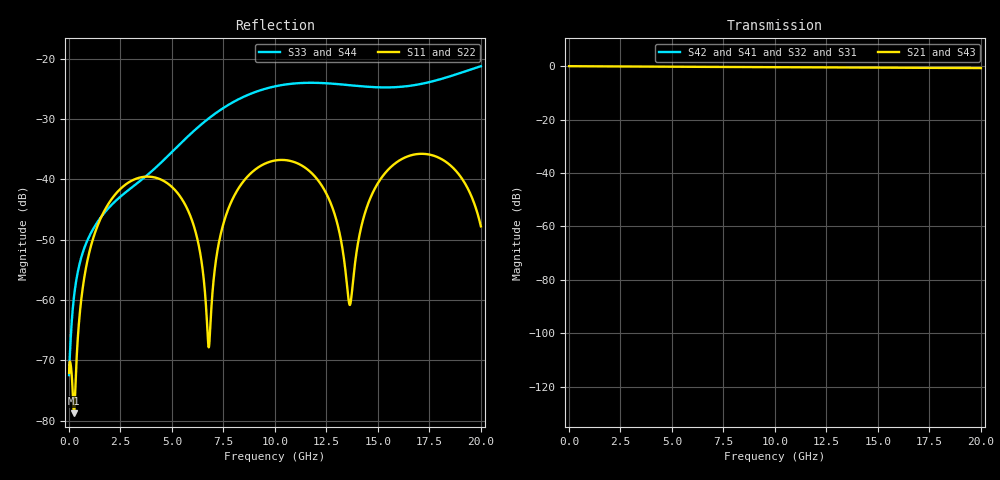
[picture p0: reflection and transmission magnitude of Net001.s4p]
! Touchstone generated by fitter/viewer
# HZ S  RI R 5.000000e+001
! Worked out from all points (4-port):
!   2000 points, 10 MHz to 20 GHz, reference 50 ohm
!   strongest paths, dB at 10 MHz, 5.01 GHz, 10.01 GHz, 15.01 GHz, 20 GHz:
!     S21: 0.0, -0.2, -0.4, -0.6, -0.7
!     S43: 0.0, -0.2, -0.4, -0.6, -0.7
!     S42: -, -, -, -, -
!     S41: -, -, -, -, -
!     S32: -, -, -, -, -
!     S31: -, -, -, -, -
!   lowest |S11| = -78.8 dB at 250 MHz (marker M1), VSWR 1.00, Z = 50 + j0.00958 ohm
!   |S11| at or under -10 dB: start of sweep to end of sweep
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1e7  0.000237 7.62e-05  0.9997 -0.00497  -0 -0  -0 -0
     0.9997 -0.00497  0.000237 7.62e-05  -0 -0  -0 -0
     -0 -0  -0 -0  0.000236 2.91e-05  0.9997 -0.00502
     -0 -0  -0 -0  0.9997 -0.00502  0.000236 2.91e-05
2.5e8  6.35e-05 9.58e-05  0.991 -0.118  -0 -0  -0 -0
       0.991 -0.118  6.35e-05 9.58e-05  -0 -0  -0 -0
       -0 -0  -0 -0  -7.68e-05 -0.00107  0.9908 -0.1192
       -0 -0  -0 -0  0.9908 -0.1192  -7.68e-05 -0.00107
3.19e9  0.00756 0.00652  0.0861 -0.9802  -0 -0  -0 -0
        0.0861 -0.9802  0.00756 0.00652  -0 -0  -0 -0
        -0 -0  -0 -0  -0.0072 0.00525  0.0713 -0.9815
        -0 -0  -0 -0  0.0713 -0.9815  -0.0072 0.00525
6.79e9  0.000351 0.000201  -0.9692 1.81e-05  -0 -0  -0 -0
        -0.9692 1.81e-05  0.000351 0.000201  -0 -0  -0 -0
        -0 -0  -0 -0  0.000978 0.0319  -0.9685 0.0317
        -0 -0  -0 -0  -0.9685 0.0317  0.000978 0.0319
9.97e9  0.0119 0.00781  -0.1052 0.9508  -0 -0  -0 -0
        -0.1052 0.9508  0.0119 0.00781  -0 -0  -0 -0
        -0 -0  -0 -0  0.0577 0.0104  -0.0594 0.9534
        -0 -0  -0 -0  -0.0594 0.9534  0.0577 0.0104
1.402e10  0.000192 0.00286  0.9272 -0.1639  -0 -0  -0 -0
          0.9272 -0.1639  0.000192 0.00286  -0 -0  -0 -0
          -0 -0  -0 -0  -0.0144 -0.0575  0.9126 -0.2242
          -0 -0  -0 -0  0.9126 -0.2242  -0.0144 -0.0575
2e10  0.00334 -0.00232  -0.8963 -0.2113  -0 -0  -0 -0
      -0.8963 -0.2113  0.00334 -0.00232  -0 -0  -0 -0
      -0 -0  -0 -0  -0.0101 0.0858  -0.9097 -0.1232
      -0 -0  -0 -0  -0.9097 -0.1232  -0.0101 0.0858
